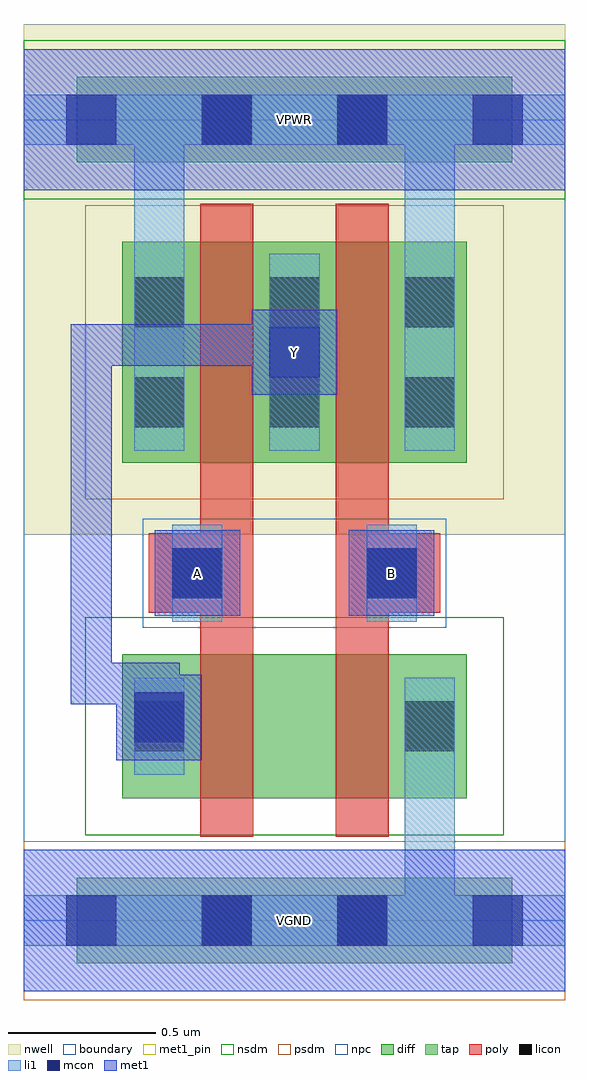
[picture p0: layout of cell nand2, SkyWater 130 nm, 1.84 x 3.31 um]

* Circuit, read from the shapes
.subckt nand2 A B VGND VPWR Y
XM1 n1 A Y VGND sky130_fd_pr__nfet_01v8 w=0.49 l=0.18
XM2 VGND B n1 VGND sky130_fd_pr__nfet_01v8 w=0.49 l=0.18
XM3 Y A VPWR VPWR sky130_fd_pr__pfet_01v8 w=0.75 l=0.18
XM4 VPWR B Y VPWR sky130_fd_pr__pfet_01v8 w=0.75 l=0.18
.ends

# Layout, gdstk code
import gdstk
lib = gdstk.Library(unit=1e-6, precision=1e-09)
def R(c, l, rs):  # rectangles x0, y0, x1, y1
    for r in rs: c.add(gdstk.rectangle(r[:2], r[2:], *l))
def A(c, l, x, y, w, h, nx, ny, dx, dy):  # array of equal rectangles
    R(c, l, [(x+i*dx, y+j*dy, x+i*dx+w, y+j*dy+h) for i in range(nx) for j in range(ny)])
nwell = (64, 20)
diff = (65, 20)
tap = (65, 44)
poly = (66, 20)
licon = (66, 44)
li1 = (67, 20)
mcon = (67, 44)
met1_pin = (68, 16)
met1 = (68, 20)
nsdm = (93, 44)
psdm = (94, 20)
npc = (95, 20)
boundary = (235, 4)

nand2 = lib.new_cell('nand2')
R(nand2, nwell, [(0,1.31,1.84,3.045)])
R(nand2, diff, [(0.335,0.415,1.505,0.905), (0.335,1.555,1.505,2.305)])
R(nand2, tap, [(0.18,-0.145,1.66,0.145), (0.18,2.575,1.66,2.865)])
R(nand2, poly, [(0.6,0.285,0.78,2.435), (1.06,0.285,1.24,2.435), (0.425,1.045,0.755,1.315), (1.085,1.045,1.415,1.315)])
A(nand2, licon, 0.375, 1.675, 0.17, 0.17, 3, 2, 0.46, 0.34)
R(nand2, licon, [(0.605,-0.085,0.775,0.085), (1.065,-0.085,1.235,0.085), (0.375,0.575,0.545,0.745), (1.295,0.575,1.465,0.745), (0.505,1.095,0.675,1.265), (1.165,1.095,1.335,1.265), (0.605,2.635,0.775,2.805), (1.065,2.635,1.235,2.805)])
A(nand2, li1, 0.375, 1.595, 0.17, 0.67, 3, 1, 0.46, 0)
R(nand2, li1, [(0,-0.085,1.84,0.085), (1.295,-0.085,1.465,0.825), (0.375,0.495,0.545,0.825), (1.295,0.495,1.465,0.825), (0.505,1.015,0.675,1.345), (1.165,1.015,1.335,1.345), (0.375,1.595,0.545,2.805), (1.295,1.595,1.465,2.805), (0,2.635,1.84,2.805)])
A(nand2, mcon, 0.145, -0.085, 0.17, 0.17, 4, 2, 0.46, 2.72)
R(nand2, mcon, [(0.375,0.605,0.545,0.775), (0.505,1.095,0.675,1.265), (1.165,1.095,1.335,1.265), (0.835,1.845,1.005,2.015)])
R(nand2, met1_pin, [(0,-0.24,1.84,0.24), (0.445,1.035,0.735,1.325), (1.105,1.035,1.395,1.325), (0.775,1.785,1.065,2.075), (0,2.48,1.84,2.96)])
R(nand2, met1, [(0,-0.24,1.84,0.24), (0.315,0.545,0.605,0.835), (0.39,0.62,0.53,0.875), (0.16,0.735,0.53,0.875), (0.16,0.735,0.3,2.025), (0.3,0.735,0.315,0.835), (0.3,0.735,0.315,0.835), (0.3,0.735,0.315,0.835), (0.3,0.735,0.315,0.835), (0.3,0.735,0.315,0.835), (0.3,0.735,0.315,0.835), (0.3,0.735,0.315,0.835), (0.3,0.735,0.315,0.835), (0.3,0.735,0.315,0.835), (0.3,0.735,0.315,0.835), (0.3,0.735,0.315,0.835), (0.3,0.735,0.315,0.835), (0.3,0.735,0.315,0.835), (0.3,0.735,0.315,0.835), (0.3,0.735,0.39,0.875), (0.3,0.735,0.39,0.875), (0.3,0.735,0.39,0.875), (0.3,0.735,0.39,0.875), (0.3,0.735,0.39,0.875), (0.3,0.735,0.39,0.875), (0.315,0.735,0.39,0.835), (0.315,0.735,0.39,0.835), (0.315,0.735,0.39,0.835), (0.315,0.735,0.39,0.835), (0.315,0.735,0.39,0.835), (0.315,0.735,0.39,0.835), (0.315,0.735,0.39,0.835), (0.315,0.735,0.39,0.835), (0.315,0.735,0.39,0.835), (0.315,0.735,0.39,0.835), (0.315,0.735,0.39,0.835), (0.315,0.735,0.39,0.835), (0.445,1.035,0.735,1.325), (1.105,1.035,1.395,1.325), (0.775,1.785,1.065,2.075), (0.16,1.885,0.99,2.025), (0.85,1.885,0.99,2.025), (0,2.48,1.84,2.96)])
R(nand2, nsdm, [(0.21,0.29,1.63,1.03), (0,2.45,1.84,2.99)])
R(nand2, psdm, [(0,-0.27,1.84,0.27), (0.21,1.43,1.63,2.43)])
R(nand2, npc, [(0.405,0.995,1.435,1.365)])
R(nand2, boundary, [(0,0,1.84,2.72)])
nand2.add(gdstk.Label('A', (0.59,1.18), layer=68, texttype=5))
nand2.add(gdstk.Label('B', (1.25,1.18), layer=68, texttype=5))
nand2.add(gdstk.Label('Y', (0.92,1.93), layer=68, texttype=5))
nand2.add(gdstk.Label('VPWR', (0.92,2.72), layer=68, texttype=5))
nand2.add(gdstk.Label('VGND', (0.92,0), layer=68, texttype=5))
nand2.add(gdstk.Label('A', (0.59,1.18), layer=68, texttype=16))
nand2.add(gdstk.Label('B', (1.25,1.18), layer=68, texttype=16))
nand2.add(gdstk.Label('Y', (0.92,1.93), layer=68, texttype=16))
nand2.add(gdstk.Label('VPWR', (0.92,2.72), layer=68, texttype=16))
nand2.add(gdstk.Label('VGND', (0.92,0), layer=68, texttype=16))

lib.write_gds('nand2.gds')
